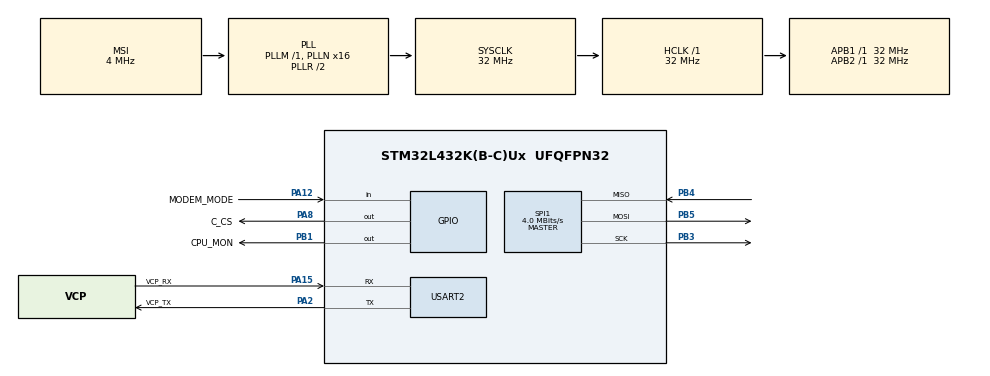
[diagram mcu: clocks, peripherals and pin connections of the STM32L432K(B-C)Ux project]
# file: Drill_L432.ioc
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FREERTOS.Tasks01=TaskHDLC,49,256,StartTaskHDLC,As weak,NULL,Dynamic,NULL,NULL;TaskHK,8,256,StartTaskHK,As weak,NULL,Dynamic,NULL,NULL
FREERTOS.configENABLE_FPU=1
FREERTOS.configTOTAL_HEAP_SIZE=8192
FREERTOS.configUSE_NEWLIB_REENTRANT=1
Mcu.Family=STM32L4
Mcu.Name=STM32L432K(B-C)Ux
Mcu.Package=UFQFPN32
NVIC.PriorityGroup=NVIC_PRIORITYGROUP_4
NVIC.TIM1_UP_TIM16_IRQn=true\:15\:0\:false\:false\:true\:false\:false\:true\:true
NVIC.TIM2_IRQn=true\:5\:0\:false\:false\:true\:true\:true\:true\:true
NVIC.TimeBase=TIM1_UP_TIM16_IRQn
NVIC.TimeBaseIP=TIM1
PA0.GPIO_Label=MCO [High speed clock in]
PA0.Signal=RCC_CK_IN
PA12.GPIO_Label=MODEM_MODE
PA12.GPIO_PuPd=GPIO_PULLUP
PA12.Signal=GPIO_Input
PA13\ (JTMS-SWDIO).GPIO_Label=SWDIO
PA13\ (JTMS-SWDIO).Signal=SYS_JTMS-SWDIO
PA14\ (JTCK-SWCLK).GPIO_Label=SWCLK
PA14\ (JTCK-SWCLK).Signal=SYS_JTCK-SWCLK
PA15\ (JTDI).GPIO_Label=VCP_RX
PA15\ (JTDI).Mode=Asynchronous
PA15\ (JTDI).Signal=USART2_RX
PA2.GPIO_Label=VCP_TX
PA2.Mode=Asynchronous
PA2.Signal=USART2_TX
PA8.GPIO_Label=C_CS
PA8.PinState=GPIO_PIN_SET
PA8.Signal=GPIO_Output
PB1.GPIO_Label=CPU_MON
PB1.Signal=GPIO_Output
PB3\ (JTDO-TRACESWO).Mode=Full_Duplex_Master
PB3\ (JTDO-TRACESWO).Signal=SPI1_SCK
PB4\ (NJTRST).Mode=Full_Duplex_Master
PB4\ (NJTRST).Signal=SPI1_MISO
PB5.Mode=Full_Duplex_Master
PB5.Signal=SPI1_MOSI
PC14-OSC32_IN\ (PC14).Signal=RCC_OSC32_IN
PC15-OSC32_OUT\ (PC15).Signal=RCC_OSC32_OUT
ProjectManager.HeapSize=0x400
ProjectManager.StackSize=0x400
ProjectManager.TargetToolchain=CMake
RCC.AHBFreq_Value=32000000
RCC.APB1Freq_Value=32000000
RCC.APB1TimFreq_Value=32000000
RCC.APB2Freq_Value=32000000
RCC.APB2TimFreq_Value=32000000
RCC.CortexFreq_Value=32000000
RCC.HCLKFreq_Value=32000000
RCC.HSE_VALUE=8000000
RCC.HSI16_VALUE=16000000
RCC.HSI48_VALUE=48000000
RCC.HSI_VALUE=16000000
RCC.LSE_VALUE=32768
RCC.MSI_VALUE=4000000
RCC.PLLMUL=RCC_PLLMUL_4
RCC.PLLN=16
RCC.SYSCLKFreq_VALUE=32000000
RCC.SYSCLKSource=RCC_SYSCLKSOURCE_PLLCLK
RCC.VCOOutputFreq_Value=64000000
SPI1.BaudRatePrescaler=SPI_BAUDRATEPRESCALER_8
SPI1.CalculateBaudRate=4.0 MBits/s
SPI1.DataSize=SPI_DATASIZE_8BIT
SPI1.Direction=SPI_DIRECTION_2LINES
SPI1.Mode=SPI_MODE_MASTER
SPI1.VirtualType=VM_MASTER
TIM2.AutoReloadPreload=TIM_AUTORELOAD_PRELOAD_ENABLE
TIM2.Period=13331
USART2.VirtualMode-Asynchronous=VM_ASYNC
VP_FREERTOS_VS_CMSIS_V2.Mode=CMSIS_V2
VP_SYS_VS_tim1.Mode=TIM1
VP_TIM2_VS_ClockSourceINT.Mode=Internal
board=NUCLEO-L432KC

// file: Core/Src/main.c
/* USER CODE BEGIN Header */
/**
  ******************************************************************************
  * @file           : main.c
  * @brief          : Main program body
  ******************************************************************************
  * @attention
  *
  * Copyright (c) 2026 STMicroelectronics.
  * All rights reserved.
  *
  * This software is licensed under terms that can be found in the LICENSE file
  * in the root directory of this software component.
  * If no LICENSE file comes with this software, it is provided AS-IS.
  *
  ******************************************************************************
  */
/* USER CODE END Header */
#include "main.h"
#include "cmsis_os.h"

/* USER CODE BEGIN Includes */
#include <stdio.h>
#include "xprintf.h"
#include "TaskHK.h"
#include "TaskHDLC.h"
/* USER CODE END Includes */

SPI_HandleTypeDef hspi1;

TIM_HandleTypeDef htim2;

UART_HandleTypeDef huart2;

/* Definitions for TaskHDLC */
osThreadId_t TaskHDLCHandle;
const osThreadAttr_t TaskHDLC_attributes = {
  .name = "TaskHDLC",
  .stack_size = 256 * 4,
  .priority = (osPriority_t) osPriorityRealtime1,
};
/* Definitions for TaskHK */
osThreadId_t TaskHKHandle;
const osThreadAttr_t TaskHK_attributes = {
  .name = "TaskHK",
  .stack_size = 256 * 4,
  .priority = (osPriority_t) osPriorityLow,
};
/* USER CODE BEGIN PV */
int Is_gse = 0;
/* USER CODE END PV */

void SystemClock_Config(void);
static void MX_GPIO_Init(void);
static void MX_TIM2_Init(void);
static void MX_SPI1_Init(void);
static void MX_USART2_UART_Init(void);
void StartTaskHDLC(void *argument);
void StartTaskHK(void *argument);

/* USER CODE BEGIN 0 */
// xprintfの出力先。TDRに直接1byte書く(newlibのロックを通さないので割込を止めない)
// 複数タスクから同時に出力すると文字が混ざるので注意。ISRからは呼ばないこと
static void uart_putc(int ch)
{
  while (!(USART2->ISR & USART_ISR_TXE));
  USART2->TDR = (uint8_t)ch;
}
/* USER CODE END 0 */

int main(void)
{

  /* MCU Configuration--------------------------------------------------------*/

  /* Reset of all peripherals, Initializes the Flash interface and the Systick. */
  HAL_Init();

  /* Configure the system clock */
  SystemClock_Config();

  /* Initialize all configured peripherals */
  MX_GPIO_Init();
  MX_TIM2_Init();
  MX_SPI1_Init();
  MX_USART2_UART_Init();
  /* USER CODE BEGIN 2 */
  Is_gse = HAL_GPIO_ReadPin(MODEM_MODE_GPIO_Port, MODEM_MODE_Pin)==GPIO_PIN_RESET ? 0 : 1;
  // xprintfの出力先をUART2に設定
  xdev_out(uart_putc);

  /* USER CODE END 2 */

  /* Init scheduler */
  osKernelInitialize();

  /* USER CODE BEGIN RTOS_QUEUES */
  /* add queues, ... */
  HDLC_QueueInit();
  /* USER CODE END RTOS_QUEUES */

  /* Create the thread(s) */
  /* creation of TaskHDLC */
  TaskHDLCHandle = osThreadNew(StartTaskHDLC, NULL, &TaskHDLC_attributes);

  /* creation of TaskHK */
  TaskHKHandle = osThreadNew(StartTaskHK, NULL, &TaskHK_attributes);

  /* Start scheduler */
  osKernelStart();

  /* We should never get here as control is now taken by the scheduler */

  /* Infinite loop */
  while (1)
  {

  }
}

void SystemClock_Config(void)
{
  RCC_OscInitTypeDef RCC_OscInitStruct = {0};
  RCC_ClkInitTypeDef RCC_ClkInitStruct = {0};

  /** Configure the main internal regulator output voltage
  */
  if (HAL_PWREx_ControlVoltageScaling(PWR_REGULATOR_VOLTAGE_SCALE1) != HAL_OK)
  {
    Error_Handler();
  }

  /** Initializes the RCC Oscillators according to the specified parameters
  * in the RCC_OscInitTypeDef structure.
  */
  RCC_OscInitStruct.OscillatorType = RCC_OSCILLATORTYPE_MSI;
  RCC_OscInitStruct.MSIState = RCC_MSI_ON;
  RCC_OscInitStruct.MSICalibrationValue = 0;
  RCC_OscInitStruct.MSIClockRange = RCC_MSIRANGE_6;
  RCC_OscInitStruct.PLL.PLLState = RCC_PLL_ON;
  RCC_OscInitStruct.PLL.PLLSource = RCC_PLLSOURCE_MSI;
  RCC_OscInitStruct.PLL.PLLM = 1;
  RCC_OscInitStruct.PLL.PLLN = 16;
  RCC_OscInitStruct.PLL.PLLP = RCC_PLLP_DIV7;
  RCC_OscInitStruct.PLL.PLLQ = RCC_PLLQ_DIV2;
  RCC_OscInitStruct.PLL.PLLR = RCC_PLLR_DIV2;
  if (HAL_RCC_OscConfig(&RCC_OscInitStruct) != HAL_OK)
  {
    Error_Handler();
  }

  /** Initializes the CPU, AHB and APB buses clocks
  */
  RCC_ClkInitStruct.ClockType = RCC_CLOCKTYPE_HCLK|RCC_CLOCKTYPE_SYSCLK
                              |RCC_CLOCKTYPE_PCLK1|RCC_CLOCKTYPE_PCLK2;
  RCC_ClkInitStruct.SYSCLKSource = RCC_SYSCLKSOURCE_PLLCLK;
  RCC_ClkInitStruct.AHBCLKDivider = RCC_SYSCLK_DIV1;
  RCC_ClkInitStruct.APB1CLKDivider = RCC_HCLK_DIV1;
  RCC_ClkInitStruct.APB2CLKDivider = RCC_HCLK_DIV1;

  if (HAL_RCC_ClockConfig(&RCC_ClkInitStruct, FLASH_LATENCY_1) != HAL_OK)
  {
    Error_Handler();
  }
}

static void MX_SPI1_Init(void)
{

  /* SPI1 parameter configuration*/
  hspi1.Instance = SPI1;
  hspi1.Init.Mode = SPI_MODE_MASTER;
  hspi1.Init.Direction = SPI_DIRECTION_2LINES;
  hspi1.Init.DataSize = SPI_DATASIZE_8BIT;
  hspi1.Init.CLKPolarity = SPI_POLARITY_LOW;
  hspi1.Init.CLKPhase = SPI_PHASE_1EDGE;
  hspi1.Init.NSS = SPI_NSS_SOFT;
  hspi1.Init.BaudRatePrescaler = SPI_BAUDRATEPRESCALER_8;
  hspi1.Init.FirstBit = SPI_FIRSTBIT_MSB;
  hspi1.Init.TIMode = SPI_TIMODE_DISABLE;
  hspi1.Init.CRCCalculation = SPI_CRCCALCULATION_DISABLE;
  hspi1.Init.CRCPolynomial = 7;
  hspi1.Init.CRCLength = SPI_CRC_LENGTH_DATASIZE;
  hspi1.Init.NSSPMode = SPI_NSS_PULSE_ENABLE;
  if (HAL_SPI_Init(&hspi1) != HAL_OK)
  {
    Error_Handler();
  }

}

static void MX_TIM2_Init(void)
{

  TIM_ClockConfigTypeDef sClockSourceConfig = {0};
  TIM_MasterConfigTypeDef sMasterConfig = {0};

  htim2.Instance = TIM2;
  htim2.Init.Prescaler = 0;
  htim2.Init.CounterMode = TIM_COUNTERMODE_UP;
  htim2.Init.Period = 13331;
  htim2.Init.ClockDivision = TIM_CLOCKDIVISION_DIV1;
  htim2.Init.AutoReloadPreload = TIM_AUTORELOAD_PRELOAD_ENABLE;
  if (HAL_TIM_Base_Init(&htim2) != HAL_OK)
  {
    Error_Handler();
  }
  sClockSourceConfig.ClockSource = TIM_CLOCKSOURCE_INTERNAL;
  if (HAL_TIM_ConfigClockSource(&htim2, &sClockSourceConfig) != HAL_OK)
  {
    Error_Handler();
  }
  sMasterConfig.MasterOutputTrigger = TIM_TRGO_RESET;
  sMasterConfig.MasterSlaveMode = TIM_MASTERSLAVEMODE_DISABLE;
  if (HAL_TIMEx_MasterConfigSynchronization(&htim2, &sMasterConfig) != HAL_OK)
  {
    Error_Handler();
  }

}

static void MX_USART2_UART_Init(void)
{

  huart2.Instance = USART2;
  huart2.Init.BaudRate = 115200;
  huart2.Init.WordLength = UART_WORDLENGTH_8B;
  huart2.Init.StopBits = UART_STOPBITS_1;
  huart2.Init.Parity = UART_PARITY_NONE;
  huart2.Init.Mode = UART_MODE_TX_RX;
  huart2.Init.HwFlowCtl = UART_HWCONTROL_NONE;
  huart2.Init.OverSampling = UART_OVERSAMPLING_16;
  huart2.Init.OneBitSampling = UART_ONE_BIT_SAMPLE_DISABLE;
  huart2.AdvancedInit.AdvFeatureInit = UART_ADVFEATURE_NO_INIT;
  if (HAL_UART_Init(&huart2) != HAL_OK)
  {
    Error_Handler();
  }

}

static void MX_GPIO_Init(void)
{
  GPIO_InitTypeDef GPIO_InitStruct = {0};

  /* GPIO Ports Clock Enable */
  __HAL_RCC_GPIOC_CLK_ENABLE();
  __HAL_RCC_GPIOA_CLK_ENABLE();
  __HAL_RCC_GPIOB_CLK_ENABLE();

  /*Configure GPIO pin Output Level */
  HAL_GPIO_WritePin(CPU_MON_GPIO_Port, CPU_MON_Pin, GPIO_PIN_RESET);

  /*Configure GPIO pin Output Level */
  HAL_GPIO_WritePin(C_CS_GPIO_Port, C_CS_Pin, GPIO_PIN_SET);

  /*Configure GPIO pin : CPU_MON_Pin */
  GPIO_InitStruct.Pin = CPU_MON_Pin;
  GPIO_InitStruct.Mode = GPIO_MODE_OUTPUT_PP;
  GPIO_InitStruct.Pull = GPIO_NOPULL;
  GPIO_InitStruct.Speed = GPIO_SPEED_FREQ_LOW;
  HAL_GPIO_Init(CPU_MON_GPIO_Port, &GPIO_InitStruct);

  /*Configure GPIO pin : C_CS_Pin */
  GPIO_InitStruct.Pin = C_CS_Pin;
  GPIO_InitStruct.Mode = GPIO_MODE_OUTPUT_PP;
  GPIO_InitStruct.Pull = GPIO_NOPULL;
  GPIO_InitStruct.Speed = GPIO_SPEED_FREQ_LOW;
  HAL_GPIO_Init(C_CS_GPIO_Port, &GPIO_InitStruct);

  /*Configure GPIO pin : MODEM_MODE_Pin */
  GPIO_InitStruct.Pin = MODEM_MODE_Pin;
  GPIO_InitStruct.Mode = GPIO_MODE_INPUT;
  GPIO_InitStruct.Pull = GPIO_PULLUP;
  HAL_GPIO_Init(MODEM_MODE_GPIO_Port, &GPIO_InitStruct);

}

/* USER CODE BEGIN 4 */
int __io_putchar(int ch)
{
  HAL_UART_Transmit(&huart2, (uint8_t *)&ch, 1, HAL_MAX_DELAY);
  return ch;
}
/* USER CODE END 4 */

__weak void StartTaskHDLC(void *argument)
{
  for(;;)
  {
    osDelay(1);
  }
}

__weak void StartTaskHK(void *argument)
{
  for(;;)
  {
    osDelay(1);
  }
}

void HAL_TIM_PeriodElapsedCallback(TIM_HandleTypeDef *htim)
{
  if (htim->Instance == TIM1)
  {
    HAL_IncTick();
  }
  /* USER CODE BEGIN Callback 1 */
  if (htim->Instance == TIM2)
  {
    Wakeup_TaskHDLC_FromISR();
  }
  /* USER CODE END Callback 1 */
}

void Error_Handler(void)
{
  __disable_irq();
  while (1)
  {
  }
}
